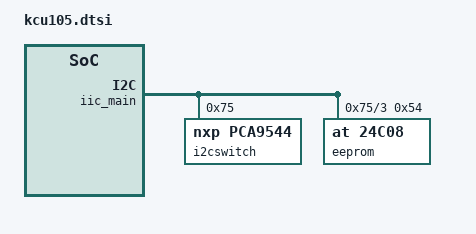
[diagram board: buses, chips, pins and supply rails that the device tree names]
// SPDX-License-Identifier: GPL-2.0+
/*
i * dts file for Xilinx Microblaze kcu105.
 *
 * (C) Copyright 2017-2022 Xilinx, Inc.
 * (C) Copyright 2022-2023 Advanced Micro Devices, Inc. All Rights Reserved.
 *
 * Naga Sureshkumar Relli <nagasure@xilinx.com>
 */

/ {
	hard-reset-gpios = <&reset_gpio 0 1>;
};

&iic_main {
	#address-cells = <1>;
	#size-cells = <0>;
	i2cswitch@75 {
		compatible = "nxp,pca9544";
		#address-cells = <1>;
		#size-cells = <0>;
		reg = <0x75>;
		i2c@3 {
			#address-cells = <1>;
			#size-cells = <0>;
			reg = <3>;
			eeprom@54 {
				compatible = "at,24c08";
				reg = <0x54>;
			};
		};
	};
};
